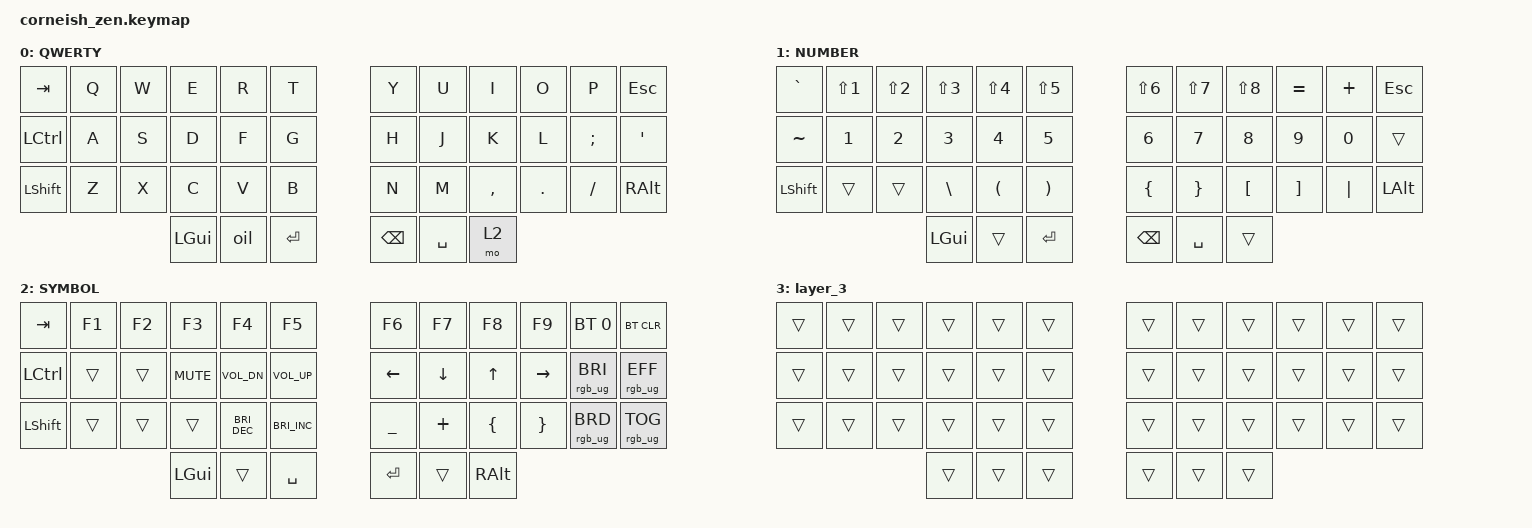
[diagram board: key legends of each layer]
hjj#include <behaviors.dtsi>
#include <dt-bindings/zmk/bt.h>
#include <dt-bindings/zmk/keys.h>
#include <dt-bindings/zmk/rgb.h>

/ {
    chosen {
        zmk,matrix_transform = &default_transform;

        // Uncomment the next line to use the five-column transform
        // zmk,matrix_transform = &five_column_transform;
    };

    behaviors {
        oil: oil {
            compatible = "zmk,behavior-tap-dance";
            label = "OIL";
            #binding-cells = <0>;
            tapping-term-ms = <200>;
            bindings = <&lt 1 MINUS>;
        };
    };

    keymap {
        compatible = "zmk,keymap";

        default_layer {
            label = "QWERTY";

                // |  TAB |  Q  |  W  |  E  |  R  |  T  |   |  Y  |  U  |  I  |  O  |  P  | ESC  |
                // |CTRL  |  A  |  S  |  D  |  F  |  G  |   |  H  |  J  |  K  |  L  |  ;  |  '   |
                // |SHFT  |  Z  |  X  |  C  |  V  |  B  |   |  N  |  M  |  ,  |  .  |  /  | RALT |
                //                | GUI | oil | RET | BSPC | SPACE | mo 2 |
                // -----------------------------------------------------------------------------------------


            bindings = <
&kp TAB    &kp Q  &kp W  &kp E     &kp R  &kp T      &kp Y     &kp U      &kp I      &kp O    &kp P     &kp ESCAPE
&kp LCTRL  &kp A  &kp S  &kp D     &kp F  &kp G      &kp H     &kp J      &kp K      &kp L    &kp SEMI  &kp SQT
&kp LSHFT  &kp Z  &kp X  &kp C     &kp V  &kp B      &kp N     &kp M      &kp COMMA  &kp DOT  &kp FSLH  &kp RALT
                         &kp LGUI  &oil   &kp RET    &kp BSPC  &kp SPACE  &mo 2
            >;
        };

        lower_layer {
            label = "NUMBER";

                // -----------------------------------------------------------------------------------------
                // |  `   |  !  |  @  |  #  |  $  |  %  |   |  ^  |  &  |  *  |  =  |  +  | ESC  |
                // |  ~   |  1  |  2  |  3  |  4  |  5  |   |  6  |  7  |  8  |  9  |  0  |      |
                // |SHFT  |     |     |  \  |  (  |  )  |   |  {  |  }  |  [  |  ]  |  |  | ALT  |
                //                | GUI |     | SPC | ENT | BSPC | SPACE |     |
                // -----------------------------------------------------------------------------------------


            bindings = <
&kp GRAVE  &kp LS(N1)  &kp LS(N2)  &kp LS(N3)     &kp LS(N4)            &kp LS(N5)               &kp LS(N6)      &kp LS(N7)       &kp LS(N8)        &kp EQUAL          &kp PLUS  &kp ESCAPE
&kp TILDE  &kp N1      &kp N2      &kp N3         &kp N4                &kp N5                   &kp N6          &kp N7           &kp N8            &kp N9             &kp N0    &trans
&kp LSHFT  &trans      &trans      &kp BACKSLASH  &kp LEFT_PARENTHESIS  &kp RIGHT_PARENTHESIS    &kp LEFT_BRACE  &kp RIGHT_BRACE  &kp LEFT_BRACKET  &kp RIGHT_BRACKET  &kp PIPE  &kp LEFT_ALT
                                   &kp LGUI       &trans                &kp ENTER                &kp BACKSPACE   &kp SPACE        &trans
            >;
        };

        raise_layer {
            label = "SYMBOL";

                                // -----------------------------------------------------------------------------------------
                    // |  TAB |  !  |  @  |  #  |  $  |  %  |   |  ^  |  &  |  *  |  (  |  )  | BKSP |
                    // |CTRL  |     |     |MUTE |VOL- |VOL+ |   | ←   | ↓   | ↑   | →   |BRI  |EFF   |
                    // |SHFT  |     |     |     |BRI- |BRI+ |   |  _  |  +  |  {  |  }  |BRD  |TOG   |
                    //                | GUI |     | SPC | ENT |     | ALT |
                    // -----------------------------------------------------------------------------------------


            bindings = <
&kp TAB    &kp F1  &kp F2  &kp F3      &kp F4                &kp F5                  &kp F6     &kp F7    &kp F8    &kp F9     &bt BT_SEL 0     &bt BT_CLR
&kp LCTRL  &trans  &trans  &kp K_MUTE  &kp C_VOL_DN          &kp C_VOLUME_UP         &kp LEFT   &kp DOWN  &kp UP    &kp RIGHT  &rgb_ug RGB_BRI  &rgb_ug RGB_EFF
&kp LSHFT  &trans  &trans  &trans      &kp C_BRIGHTNESS_DEC  &kp C_BRIGHTNESS_INC    &kp UNDER  &kp PLUS  &kp LBRC  &kp RBRC   &rgb_ug RGB_BRD  &rgb_ug RGB_TOG
                           &kp LGUI    &trans                &kp SPACE               &kp RET    &trans    &kp RALT
            >;
        };

        layer_3 {
            bindings = <
&trans  &trans  &trans  &trans  &trans  &trans    &trans  &trans  &trans  &trans  &trans  &trans
&trans  &trans  &trans  &trans  &trans  &trans    &trans  &trans  &trans  &trans  &trans  &trans
&trans  &trans  &trans  &trans  &trans  &trans    &trans  &trans  &trans  &trans  &trans  &trans
                        &trans  &trans  &trans    &trans  &trans  &trans
            >;
        };
    };
};
